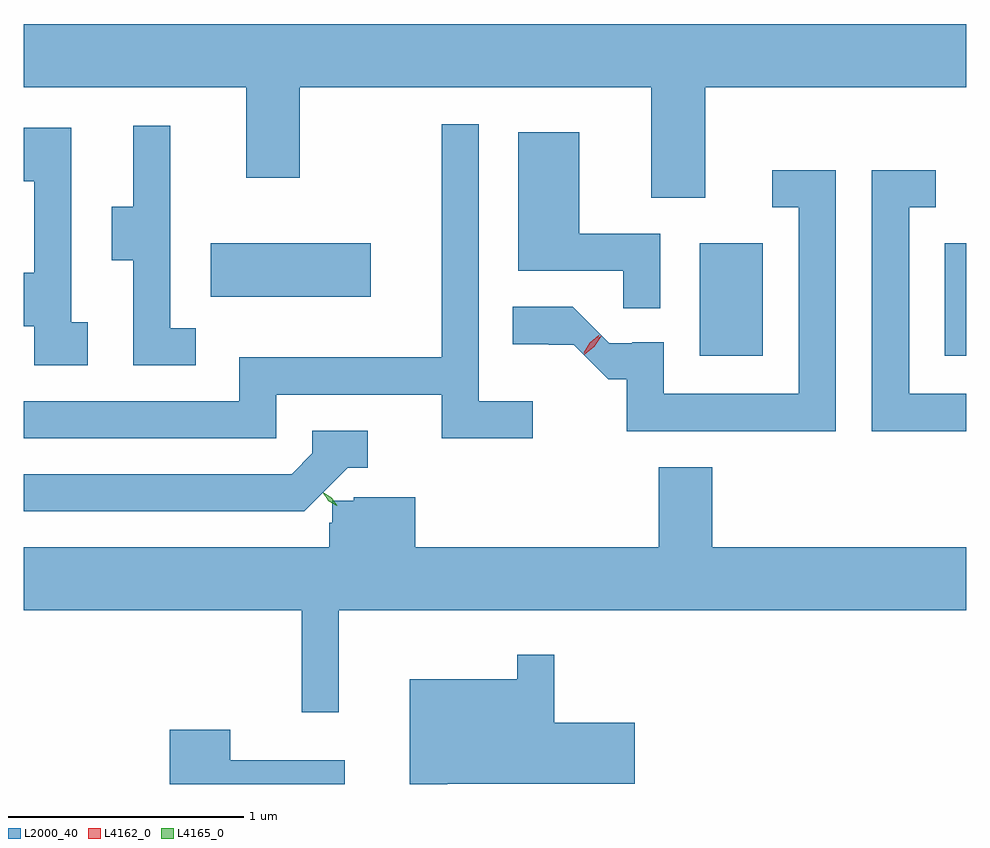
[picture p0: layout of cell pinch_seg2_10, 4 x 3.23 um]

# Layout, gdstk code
import gdstk
lib = gdstk.Library(unit=1e-6, precision=1e-09)
def R(c, l, rs):  # rectangles x0, y0, x1, y1
    for r in rs: c.add(gdstk.rectangle(r[:2], r[2:], *l))
def P(c, l, *ps):  # polygons
    for p in ps: c.add(gdstk.Polygon(p, *l))
L2000_40 = (2000, 40)
L4162_0 = (4162, 0)
L4165_0 = (4165, 0)

pinch_seg2_10 = lib.new_cell('pinch_seg2_10')
R(pinch_seg2_10, L2000_40, [(1730.816,1093.796,1731.084,1094.274), (1731.856,1093.796,1731.947,1094.274), (1728.741,1094.046,1729.419,1094.274)])
P(pinch_seg2_10, L2000_40, [(1730.839,1094.936),(1731.947,1094.936),(1731.947,1095.204),(1727.947,1095.204),(1727.947,1094.936),(1728.891,1094.936),(1728.891,1094.551),(1729.119,1094.551),(1729.119,1094.936),(1730.611,1094.936),(1730.611,1094.466),(1730.839,1094.466)],
  [(1729.019,1093.631),(1729.721,1093.631),(1729.721,1093.446),(1730.108,1093.446),(1730.108,1093.604),(1729.879,1093.604),(1729.879,1094.778),(1729.721,1094.778),(1729.721,1093.789),(1728.861,1093.789),(1728.861,1093.604),(1727.947,1093.604),(1727.947,1093.446),(1729.019,1093.446)],
  [(1728.678,1093.914),(1728.569,1093.914),(1728.569,1094.773),(1728.411,1094.773),(1728.411,1094.429),(1728.321,1094.429),(1728.321,1094.201),(1728.411,1094.201),(1728.411,1093.756),(1728.678,1093.756)],
  [(1728.219,1093.939),(1728.149,1093.939),(1728.149,1094.764),(1727.947,1094.764),(1727.947,1094.536),(1727.991,1094.536),(1727.991,1094.149),(1727.947,1094.149),(1727.947,1093.921),(1727.991,1093.921),(1727.991,1093.756),(1728.219,1093.756)],
  [(1730.649,1094.314),(1730.304,1094.314),(1730.304,1094.744),(1730.046,1094.744),(1730.046,1094.156),(1730.491,1094.156),(1730.491,1093.998),(1730.649,1093.998)],
  [(1731.394,1094.584),(1731.123,1094.584),(1731.123,1094.426),(1731.236,1094.426),(1731.236,1093.634),(1730.664,1093.634),(1730.664,1093.854),(1730.529,1093.854),(1730.529,1093.85),(1730.431,1093.85),(1730.277,1094.004),(1730.023,1094.004),(1730.023,1093.846),(1730.175,1093.846),(1730.175,1093.843),(1730.281,1093.843),(1730.428,1093.696),(1730.506,1093.696),(1730.506,1093.476),(1731.394,1093.476)],
  [(1731.947,1093.634),(1731.704,1093.634),(1731.704,1094.426),(1731.818,1094.426),(1731.818,1094.584),(1731.546,1094.584),(1731.546,1093.476),(1731.947,1093.476)],
  [(1729.323,1093.321),(1729.408,1093.321),(1729.408,1093.479),(1729.171,1093.479),(1729.171,1093.382),(1729.084,1093.294),(1727.947,1093.294),(1727.947,1093.136),(1729.138,1093.136)],
  [(1729.284,1092.716),(1731.947,1092.716),(1731.947,1092.984),(1730.869,1092.984),(1730.869,1093.324),(1730.641,1093.324),(1730.641,1092.984),(1729.609,1092.984),(1729.609,1093.196),(1729.347,1093.196),(1729.347,1093.181),(1729.257,1093.181),(1729.257,1093.087),(1729.244,1093.087),(1729.244,1092.984),(1727.947,1092.984),(1727.947,1092.716),(1729.126,1092.716),(1729.126,1092.283),(1729.284,1092.283)],
  [(1729.744,1091.981),(1730.539,1091.981),(1730.539,1092.239),(1730.199,1092.239),(1730.199,1092.528),(1730.041,1092.528),(1730.041,1092.424),(1729.586,1092.424),(1729.586,1091.979),(1729.744,1091.979)],
  [(1729.309,1092.079),(1728.824,1092.079),(1728.824,1092.209),(1728.566,1092.209),(1728.566,1091.979),(1729.309,1091.979)])
P(pinch_seg2_10, L4162_0, [(1730.326,1093.801),(1730.326,1093.802),(1730.355,1093.848),(1730.398,1093.881),(1730.398,1093.881),(1730.398,1093.88),(1730.369,1093.834),(1730.326,1093.801)],
  [(1730.324,1093.808),(1730.324,1093.809),(1730.349,1093.852),(1730.388,1093.883),(1730.389,1093.883),(1730.389,1093.883),(1730.364,1093.839),(1730.325,1093.808)])
P(pinch_seg2_10, L4165_0, [(1729.276,1093.159),(1729.241,1093.179),(1729.219,1093.213),(1729.219,1093.214),(1729.22,1093.214),(1729.255,1093.194),(1729.277,1093.159),(1729.277,1093.159)],
  [(1729.272,1093.162),(1729.24,1093.18),(1729.22,1093.212),(1729.22,1093.212),(1729.221,1093.212),(1729.254,1093.194),(1729.273,1093.163),(1729.273,1093.162)])

lib.write_gds('pinch_seg2_10.gds')
